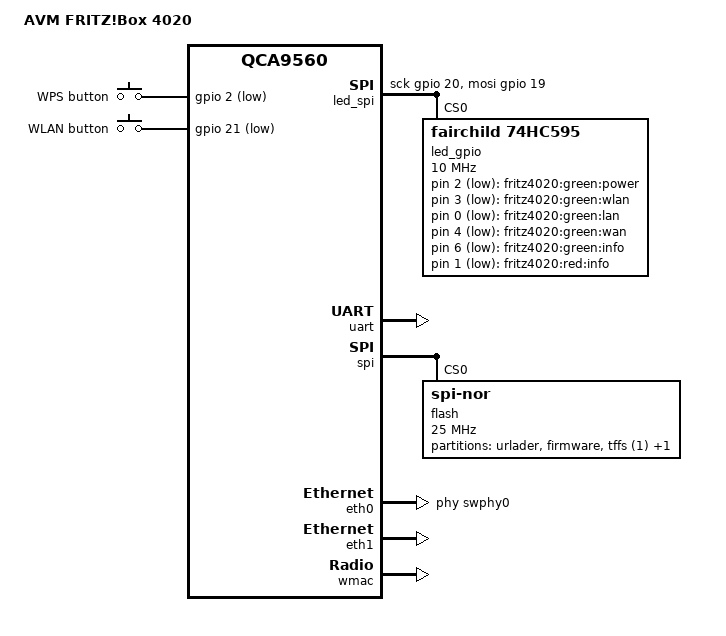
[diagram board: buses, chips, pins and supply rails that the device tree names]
// SPDX-License-Identifier: GPL-2.0-or-later OR MIT

#include "qca956x.dtsi"

#include <dt-bindings/gpio/gpio.h>
#include <dt-bindings/input/input.h>

/ {
	compatible = "avm,fritz4020", "qca,qca9560";
	model = "AVM FRITZ!Box 4020";

	aliases {
		led-boot = &led_power;
		led-failsafe = &led_info_red;
		led-running = &led_power;
		led-upgrade = &led_info_red;
	};

	led_spi {
		compatible = "spi-gpio";
		#address-cells = <1>;
		#size-cells = <0>;

		sck-gpios = <&gpio 20 GPIO_ACTIVE_HIGH>;
		mosi-gpios = <&gpio 19 GPIO_ACTIVE_HIGH>;
		num-chipselects = <0>;

		led_gpio: led_gpio@0 {
			compatible = "fairchild,74hc595";
			reg = <0>;
			gpio-controller;
			#gpio-cells = <2>;
			registers-number = <1>;
			spi-max-frequency = <10000000>;

			gpio_latch_bit {
				gpio-hog;
				gpios = <7 GPIO_ACTIVE_HIGH>;
				output-high;
				line-name = "gpio-latch-bit";
			};
		};
	};

	leds {
		compatible = "gpio-leds";

		led_power: power {
			label = "fritz4020:green:power";
			gpios = <&led_gpio 2 GPIO_ACTIVE_LOW>;
			default-state = "on";
		};

		wlan {
			label = "fritz4020:green:wlan";
			gpios = <&led_gpio 3 GPIO_ACTIVE_LOW>;
			linux,default-trigger = "phy0tpt";
		};

		lan {
			label = "fritz4020:green:lan";
			gpios = <&led_gpio 0 GPIO_ACTIVE_LOW>;
		};

		wan {
			label = "fritz4020:green:wan";
			gpios = <&led_gpio 4 GPIO_ACTIVE_LOW>;
		};

		info {
			label = "fritz4020:green:info";
			gpios = <&led_gpio 6 GPIO_ACTIVE_LOW>;
		};

		led_info_red: info_red {
			label = "fritz4020:red:info";
			gpios = <&led_gpio 1 GPIO_ACTIVE_LOW>;
		};
	};

	keys {
		compatible = "gpio-keys";

		wps {
			label = "WPS button";
			linux,code = <KEY_WPS_BUTTON>;
			gpios = <&gpio 2 GPIO_ACTIVE_LOW>;
		};

		wlan {
			label = "WLAN button";
			linux,code = <KEY_RFKILL>;
			gpios = <&gpio 21 GPIO_ACTIVE_LOW>;
		};
	};
};

&uart {
	status = "okay";
};

&spi {
	status = "okay";

	num-cs = <1>;

	flash@0 {
		compatible = "jedec,spi-nor";
		reg = <0>;
		spi-max-frequency = <25000000>;

		partitions {
			compatible = "fixed-partitions";
			#address-cells = <1>;
			#size-cells = <1>;

			partition@0 {
				label = "urlader";
				reg = <0x000000 0x020000>;
				read-only;
			};

			partition@1 {
				compatible = "avm,eva-firmware";
				label = "firmware";
				reg = <0x020000 0xee0000>;
			};

			partition@2 {
				label = "tffs (1)";
				reg = <0xf00000 0x080000>;
				read-only;
			};

			partition@3 {
				label = "tffs (2)";
				reg = <0xf80000 0x080000>;
				read-only;
			};
		};
	};
};

&eth0 {
	status = "okay";

	phy-handle = <&swphy0>;

	gmac-config {
		device = <&gmac>;

		switch-phy-addr-swap = <1>;
		switch-phy-swap = <1>;
	};
};

&eth1 {
	status = "okay";
};

&wmac {
	status = "okay";

	qca,no-eeprom;
};
